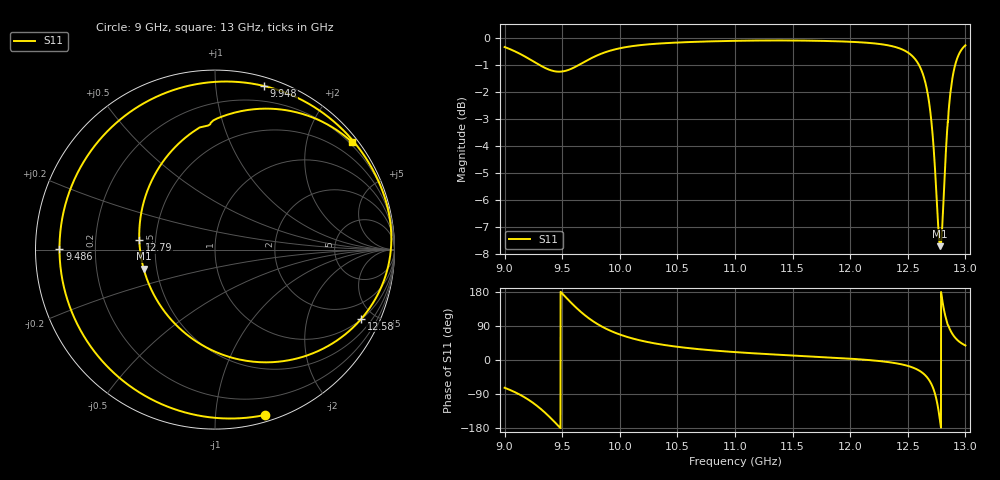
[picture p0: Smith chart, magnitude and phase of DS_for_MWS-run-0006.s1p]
! TOUCHSTONE file generated by CST DESIGN STUDIO
! Date and time: Tue Feb  4 15:44:59 2025
! Project name: C:\Work\MatlabApps\UnitCellOptimizationMatlab\CST\unitcell.cst
! Tree item: Tasks\Sweep1\SPara1\S-Parameters
! Header version: 2024
! Port assignment regex: !\s*Touchstone port\s*([0-9]+)\s*=\s*(CST MWS port|CST DES external port|CST DES block port)\s*(.+)\s* \(\"(.*)\"\)(\s*mode\s*([0-9]+))?.*
! Touchstone port assignment:
! Touchstone port 1 = CST DES external port 1 ("")
# GHz S MA R 50
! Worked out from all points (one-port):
!   4001 points, 9 GHz to 13 GHz, reference 50 ohm
!   lowest |S11| = -7.7 dB at 12.78 GHz (marker M1), VSWR 2.40, Z = 21.1 - j5.36 ohm
!   |S11| at or under -10 dB: nowhere
!   S11 on the Smith chart (normalised r, x): 9 GHz: 0.05, -1.34; 9.486 GHz: 0.07, +0.00; 9.948 GHz: 0.07, +1.34; 12.58 GHz: 1.02, -4.23; 12.79 GHz: 0.40, +0.05; 13 GHz: 0.14, +2.87
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9  0.9624 -73.3
9.151  0.9307 -94.6
9.266  0.9009 -117.4
9.368  0.877 -143.8
9.486  0.8665 179.9
9.5  0.8671 175.4
9.61  0.8836 141.4
9.705  0.9065 116.1
9.811  0.9302 94.0
9.948  0.9516 73.3
10  0.9574 67.3
10.214  0.972 49.2
10.5  0.9811 34.8
11  0.9882 20.8
11.5  0.9896 11.9
12  0.9843 3.5
12.305  0.9715 -4.5
12.5  0.9405 -15.5
12.583  0.9021 -25.3
12.66  0.8142 -43.0
12.718  0.6521 -72.6
12.75  0.5069 -105.9
12.782  0.4116 -165.2
12.792  0.4249 173.0
12.828  0.6017 113.6
12.863  0.7672 82.5
12.925  0.9121 54.3
13  0.9695 38.3
